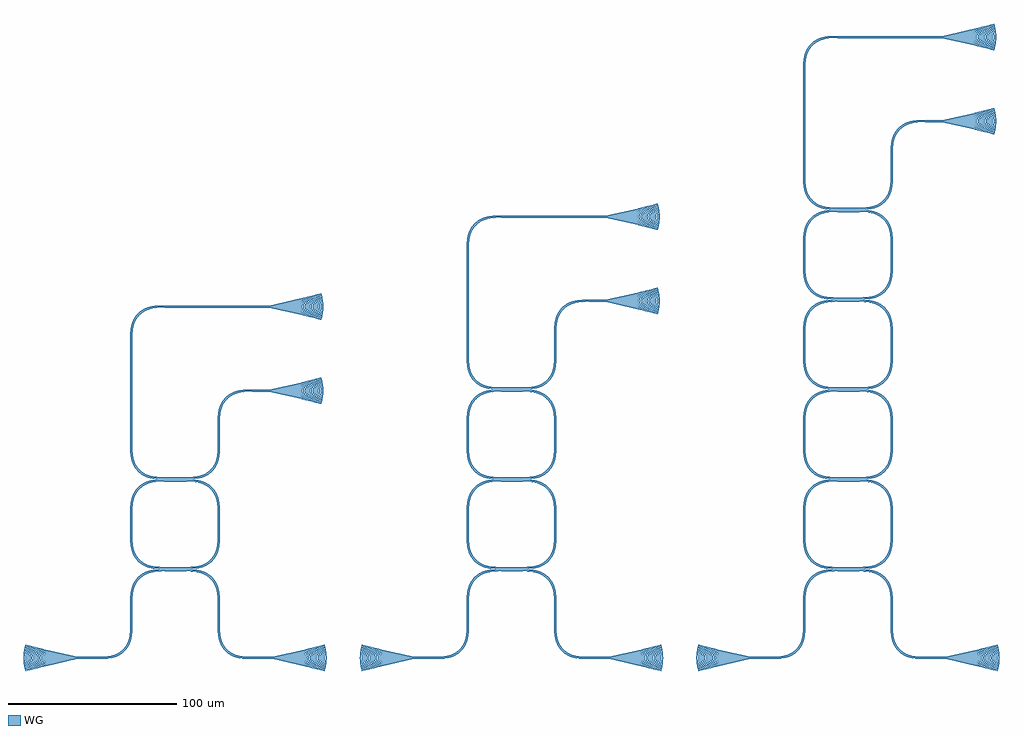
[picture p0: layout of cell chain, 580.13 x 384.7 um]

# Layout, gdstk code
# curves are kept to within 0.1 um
from math import pi, radians
import gdstk
lib = gdstk.Library(unit=1e-6, precision=1e-09)
def R(c, l, rs):  # rectangles x0, y0, x1, y1
    for r in rs: c.add(gdstk.rectangle(r[:2], r[2:], *l))
def P(c, l, *ps):  # polygons
    for p in ps: c.add(gdstk.Polygon(p, *l))
WG = (1, 0)

bend_euler_gdsfactorypc_ = lib.new_cell('bend_euler_gdsfactorypc_9d8940b1')
P(bend_euler_gdsfactorypc_, WG, [(0,-0.6),(0,0.6),(5.876,0.82),(8.21,1.21),(10.087,1.756),(12.758,3.063),(15.079,4.921),(16.937,7.242),(18.244,9.913),(18.79,11.79),(19.18,14.124),(19.4,20),(20.6,20),(20.416,14.401),(19.678,10.44),(19.008,8.589),(18.172,6.96),(17.139,5.446),(15.927,4.073),(14.554,2.861),(13.04,1.828),(11.411,0.992),(9.56,0.322),(5.599,-0.416)])

straight_gdsfactorypcom_ = lib.new_cell('straight_gdsfactorypcom_e9b5f7da')
R(straight_gdsfactorypcom_, WG, [(0,-0.6,12,0.6)])

ring_resonator_euler_lx_ = lib.new_cell('ring_resonator_euler_LX_494c9b60')
ring_resonator_euler_lx_.add(gdstk.Reference(bend_euler_gdsfactorypc_, (0,0)))
ring_resonator_euler_lx_.add(gdstk.Reference(bend_euler_gdsfactorypc_, (-12,52), rotation=pi))
ring_resonator_euler_lx_.add(gdstk.Reference(straight_gdsfactorypcom_, (20,20), rotation=pi/2))
ring_resonator_euler_lx_.add(gdstk.Reference(straight_gdsfactorypcom_, (0,52), rotation=pi))
ring_resonator_euler_lx_.add(gdstk.Reference(bend_euler_gdsfactorypc_, (20,32), rotation=pi/2))
ring_resonator_euler_lx_.add(gdstk.Reference(straight_gdsfactorypcom_, (-32,32), rotation=3*pi/2, x_reflection=True))
ring_resonator_euler_lx_.add(gdstk.Reference(straight_gdsfactorypcom_, (-12,0)))
ring_resonator_euler_lx_.add(gdstk.Reference(bend_euler_gdsfactorypc_, (-32,20), rotation=3*pi/2))

grating_coupler_ellipti_ = lib.new_cell('grating_coupler_ellipti_4305e49b')
P(grating_coupler_ellipti_, WG, [(20.177,-5.087),(19.631,-4.923),(20.169,-2.633),(20.38,0),(20.169,2.633),(19.631,4.923),(20.177,5.087),(20.563,3.62),(20.777,2.424),(20.95,0),(20.777,-2.424),(20.563,-3.62)],
  [(21.092,-5.317),(20.546,-5.153),(21.058,-3.058),(21.305,-0.922),(21.319,0.615),(21.196,2.147),(20.938,3.663),(20.546,5.153),(21.092,5.317),(21.496,3.783),(21.72,2.532),(21.9,0),(21.72,-2.532),(21.496,-3.783)],
  [(23.837,-6.008),(23.291,-5.844),(23.871,-3.469),(24.152,-1.046),(24.167,0.697),(24.028,2.435),(23.735,4.154),(23.291,5.844),(23.837,6.008),(24.293,4.274),(24.546,2.861),(24.75,0),(24.546,-2.861),(24.293,-4.274)],
  [(22.007,-5.547),(21.461,-5.383),(21.996,-3.195),(22.254,-0.963),(22.268,0.642),(22.14,2.243),(21.87,3.827),(21.461,5.383),(22.007,5.547),(22.428,3.947),(22.662,2.642),(22.85,0),(22.662,-2.642),(22.428,-3.947)],
  [(26.582,-6.698),(26.036,-6.534),(26.448,-5.025),(26.75,-3.495),(27.016,-0.78),(26.998,1.169),(26.809,3.109),(26.448,5.025),(26.036,6.534),(26.582,6.698),(27.091,4.765),(27.373,3.189),(27.543,1.598),(27.6,0),(27.543,-1.598),(27.373,-3.189),(27.091,-4.765)],
  [(28.412,-7.158),(27.866,-6.994),(28.561,-4.152),(28.797,-2.5),(28.915,-0.835),(28.896,1.252),(28.693,3.328),(28.307,5.379),(27.866,6.994),(28.412,7.158),(28.861,5.509),(29.193,3.831),(29.405,2.134),(29.5,0),(29.405,-2.134),(29.193,-3.831),(28.861,-5.509)],
  [(22.922,-5.777),(22.376,-5.613),(22.933,-3.333),(23.203,-1.005),(23.218,0.67),(23.084,2.339),(22.803,3.99),(22.376,5.613),(22.922,5.777),(23.361,4.11),(23.604,2.751),(23.8,0),(23.604,-2.751),(23.361,-4.11)],
  [(24.752,-6.238),(24.206,-6.074),(24.808,-3.606),(25.101,-1.087),(25.117,0.725),(24.972,2.53),(24.668,4.317),(24.206,6.074),(24.752,6.238),(25.432,3.339),(25.647,1.49),(25.7,0),(25.647,-1.49),(25.432,-3.339)],
  [(25.667,-6.468),(25.121,-6.304),(25.746,-3.743),(26.05,-1.128),(26.066,0.752),(25.916,2.627),(25.6,4.48),(25.121,6.304),(25.667,6.468),(26.158,4.602),(26.431,3.08),(26.595,1.545),(26.65,0),(26.595,-1.545),(26.431,-3.08),(26.158,-4.602)],
  [(27.497,-6.928),(26.951,-6.764),(27.377,-5.202),(27.691,-3.618),(27.965,-0.807),(27.947,1.21),(27.751,3.219),(27.377,5.202),(26.951,6.764),(27.497,6.928),(27.931,5.332),(28.253,3.708),(28.458,2.066),(28.55,0),(28.458,-2.066),(28.253,-3.708),(27.931,-5.332)],
  [(29.327,-7.388),(28.781,-7.224),(29.236,-5.556),(29.571,-3.864),(29.819,-1.723),(29.88,0),(29.819,1.723),(29.571,3.864),(29.236,5.556),(28.781,7.224),(29.327,7.388),(29.79,5.686),(30.133,3.954),(30.352,2.203),(30.45,0),(30.352,-2.203),(30.133,-3.954),(29.79,-5.686)],
  [(30.242,-7.618),(29.696,-7.454),(30.166,-5.733),(30.578,-3.547),(30.767,-1.778),(30.83,0),(30.767,1.778),(30.578,3.547),(30.166,5.733),(29.696,7.454),(30.242,7.618),(30.821,5.419),(31.142,3.627),(31.335,1.818),(31.4,0),(31.335,-1.818),(31.142,-3.627),(30.821,-5.419)],
  [(31.157,-7.848),(30.611,-7.684),(31.095,-5.91),(31.52,-3.657),(31.715,-1.833),(31.78,0),(31.715,1.833),(31.52,3.657),(31.095,5.91),(30.611,7.684),(31.157,7.848),(31.753,5.583),(32.084,3.737),(32.283,1.873),(32.35,0),(32.283,-1.873),(32.084,-3.737),(31.753,-5.583)],
  [(19.263,-4.844),(0.285,-0.6),(0.285,0.6),(19.263,4.844),(19.836,2.306),(20,0),(19.836,-2.306)])

io_coupler_1_l12_w1p2_r_ = lib.new_cell('io_Coupler_1_L12_W1p2_R_dd893fba')
io_coupler_1_l12_w1p2_r_.add(gdstk.Reference(bend_euler_gdsfactorypc_, (32,-32), rotation=3*pi/2))
io_coupler_1_l12_w1p2_r_.add(gdstk.Reference(straight_gdsfactorypcom_, (-52,-52)))
io_coupler_1_l12_w1p2_r_.add(gdstk.Reference(straight_gdsfactorypcom_, (52,-52)))
io_coupler_1_l12_w1p2_r_.add(gdstk.Reference(straight_gdsfactorypcom_, (0,0)))
io_coupler_1_l12_w1p2_r_.add(gdstk.Reference(bend_euler_gdsfactorypc_, (-40,-52)))
io_coupler_1_l12_w1p2_r_.add(gdstk.Reference(straight_gdsfactorypcom_, (-20,-20), rotation=3*pi/2))
io_coupler_1_l12_w1p2_r_.add(gdstk.Reference(straight_gdsfactorypcom_, (32,-20), rotation=3*pi/2))
io_coupler_1_l12_w1p2_r_.add(gdstk.Reference(bend_euler_gdsfactorypc_, (32,-20), rotation=pi/2))
io_coupler_1_l12_w1p2_r_.add(gdstk.Reference(bend_euler_gdsfactorypc_, (0,0), rotation=pi))
io_coupler_1_l12_w1p2_r_.add(gdstk.Reference(grating_coupler_ellipti_, (-51.715,-52), rotation=pi))
io_coupler_1_l12_w1p2_r_.add(gdstk.Reference(grating_coupler_ellipti_, (63.715,-52)))

c_straight_gdsfactorypcom_ = lib.new_cell('straight_gdsfactorypcom_024d7020')
R(c_straight_gdsfactorypcom_, WG, [(0,-0.6,62,0.6)])

c_straight_gdsfactorypcom__ = lib.new_cell('straight_gdsfactorypcom_aae9f001')
R(c_straight_gdsfactorypcom__, WG, [(0,-0.6,10,0.6)])

io_coupler_2_l12_w1p2_r_ = lib.new_cell('io_Coupler_2_L12_W1p2_R_64a23cd2')
io_coupler_2_l12_w1p2_r_.add(gdstk.Reference(bend_euler_gdsfactorypc_, (0,0)))
io_coupler_2_l12_w1p2_r_.add(gdstk.Reference(c_straight_gdsfactorypcom_, (50,102), rotation=pi))
io_coupler_2_l12_w1p2_r_.add(gdstk.Reference(straight_gdsfactorypcom_, (20,32), rotation=3*pi/2))
io_coupler_2_l12_w1p2_r_.add(gdstk.Reference(straight_gdsfactorypcom_, (0,0), rotation=pi))
io_coupler_2_l12_w1p2_r_.add(gdstk.Reference(c_straight_gdsfactorypcom__, (50,52), rotation=pi))
io_coupler_2_l12_w1p2_r_.add(gdstk.Reference(bend_euler_gdsfactorypc_, (-32,20), rotation=3*pi/2))
io_coupler_2_l12_w1p2_r_.add(gdstk.Reference(c_straight_gdsfactorypcom_, (-32,20), rotation=pi/2))
io_coupler_2_l12_w1p2_r_.add(gdstk.Reference(bend_euler_gdsfactorypc_, (40,52), rotation=pi))
io_coupler_2_l12_w1p2_r_.add(gdstk.Reference(bend_euler_gdsfactorypc_, (-12,102), rotation=pi))
io_coupler_2_l12_w1p2_r_.add(gdstk.Reference(grating_coupler_ellipti_, (49.715,52)))
io_coupler_2_l12_w1p2_r_.add(gdstk.Reference(grating_coupler_ellipti_, (49.715,102)))

ring_chain_r20_l12_w1p2_ = lib.new_cell('ring_chain_R20_L12_W1p2_f03924d4')
ring_chain_r20_l12_w1p2_.add(gdstk.Reference(ring_resonator_euler_lx_, (0,0)))
ring_chain_r20_l12_w1p2_.add(gdstk.Reference(io_coupler_1_l12_w1p2_r_, (-12,-1.4)))
ring_chain_r20_l12_w1p2_.add(gdstk.Reference(io_coupler_2_l12_w1p2_r_, (0,53.4)))

c_ring_chain_r20_l12_w1p2_ = lib.new_cell('ring_chain_R20_L12_W1p2_b1ac8f18')
c_ring_chain_r20_l12_w1p2_.add(gdstk.Reference(ring_resonator_euler_lx_, (200,0)))
c_ring_chain_r20_l12_w1p2_.add(gdstk.Reference(ring_resonator_euler_lx_, (200,53.4)))
c_ring_chain_r20_l12_w1p2_.add(gdstk.Reference(io_coupler_1_l12_w1p2_r_, (188,-1.4)))
c_ring_chain_r20_l12_w1p2_.add(gdstk.Reference(io_coupler_2_l12_w1p2_r_, (200,106.8)))

c_ring_chain_r20_l12_w1p2__ = lib.new_cell('ring_chain_R20_L12_W1p2_46f91e28')
c_ring_chain_r20_l12_w1p2__.add(gdstk.Reference(ring_resonator_euler_lx_, (400,0)))
c_ring_chain_r20_l12_w1p2__.add(gdstk.Reference(ring_resonator_euler_lx_, (400,53.4)))
c_ring_chain_r20_l12_w1p2__.add(gdstk.Reference(ring_resonator_euler_lx_, (400,106.8)))
c_ring_chain_r20_l12_w1p2__.add(gdstk.Reference(ring_resonator_euler_lx_, (400,160.2)))
c_ring_chain_r20_l12_w1p2__.add(gdstk.Reference(io_coupler_1_l12_w1p2_r_, (388,-1.4)))
c_ring_chain_r20_l12_w1p2__.add(gdstk.Reference(io_coupler_2_l12_w1p2_r_, (400,213.6)))

chain = lib.new_cell('chain')
chain.add(gdstk.Reference(ring_chain_r20_l12_w1p2_, (0,0)))
chain.add(gdstk.Reference(c_ring_chain_r20_l12_w1p2_, (0,0)))
chain.add(gdstk.Reference(c_ring_chain_r20_l12_w1p2__, (0,0)))

lib.write_gds('chain.gds')
